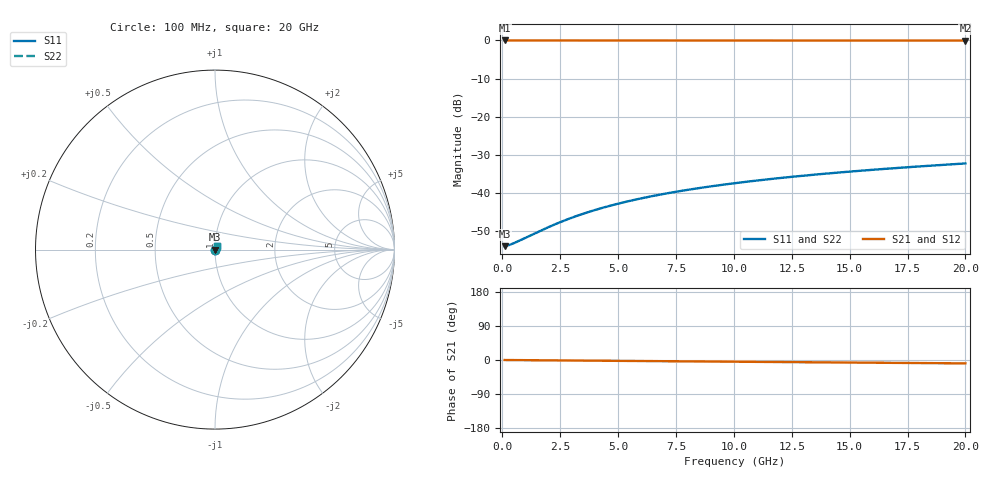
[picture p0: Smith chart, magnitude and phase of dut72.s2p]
! Touchstone file exported from HFSS 2026.1.0
!  File:  C:/ffzhzh/LocalFiles/Ansys_Project_Files/temp_train_TSV_72_1782959250_15332.aedt
!  Generated:  10:30:14 AM Jul  2, 2026
!  Design:  TSV
!  Project:  temp_train_TSV_72_1782959250_15332
! Variables:
!  h_bsmrdl = 2um
!  h_ox = 20um
!  h_rdl = 5um
!  h_sub = 97.65um
!  h_tmrdl = 5um
!  h_tsv = 97.65um
!  h_via = 3um
!  l_bsmrdl = 300um
!  l_sub = 404.74um
!  l_tmrdl = 200um
!  m_sub = 200um
!  pitch = 12.01um
!  r_tsv = 2.37um
!  s_tmrdl = 10um
!  w_bsmrdl = 18um
!  w_sub = 500um
!  w_tmrdl = 12um
!  x_tsv_center1 = 206um
!  x_tsv_center2 = 524um
!  x_tsv_center3 = 736um
!  x_tsv_center4 = 1054um
!  x_tsv_center5 = 1266um
!  x_tsv_center6 = 1584um
# GHz S MA R 50.000000
! Terminal data exported
! Port[1] = TSV1_1_T1
! Port[2] = TSV1_1_T2
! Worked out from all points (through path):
!   200 points, 100 MHz to 20 GHz, reference 50 ohm
!   highest |S21| = -0.02 dB at 100 MHz (marker M1); lowest = 0.0 dB at 20 GHz (marker M2)
!   group delay of S21, straight-line fit = 1.24 ps
!   lowest |S11| = -54.0 dB at 100 MHz (marker M3), VSWR 1.00, Z = 50.2 + j0.016 ohm
!   |S11| at or under -10 dB: start of sweep to end of sweep
!   |S22| runs from -54.0 to -32.3 dB; largest |S21 - S12| = 3.2e-15
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0.1  0.001997 4.6  0.998 -0.0  0.998 -0.0  0.001997 4.6
! Gamma 0 0 0 0
! Port Impedance 50 0 50 0
0.2  0.002026 9.0  0.998 -0.1  0.998 -0.1  0.002026 9.0
0.3  0.00207 13.1  0.998 -0.1  0.998 -0.1  0.00207 13.1
0.5  0.002188 20.3  0.998 -0.2  0.998 -0.2  0.002188 20.3
1.8  0.003339 48.0  0.9978 -0.8  0.9978 -0.8  0.003339 48.0
2.4  0.004005 54.7  0.9977 -1.1  0.9977 -1.1  0.004005 54.7
2.9  0.004595 58.6  0.9977 -1.3  0.9977 -1.3  0.004595 58.6
3.5  0.005327 62.0  0.9976 -1.6  0.9976 -1.6  0.005327 62.0
4.2  0.0062 64.7  0.9975 -1.9  0.9975 -1.9  0.0062 64.7
5  0.007207 66.8  0.9974 -2.3  0.9974 -2.3  0.007207 66.8
5.9  0.008339 68.3  0.9972 -2.7  0.9972 -2.7  0.008339 68.3
6.8  0.009463 69.2  0.9971 -3.1  0.9971 -3.1  0.009463 69.2
7.6  0.01045 69.7  0.9969 -3.4  0.9969 -3.4  0.01045 69.7
8.4  0.01143 70.0  0.9967 -3.8  0.9967 -3.8  0.01143 70.0
9.2  0.01239 70.2  0.9966 -4.2  0.9966 -4.2  0.01239 70.2
10.1  0.01346 70.2  0.9964 -4.6  0.9964 -4.6  0.01346 70.2
11.7  0.01531 70.2  0.996 -5.3  0.996 -5.3  0.01531 70.2
13.4  0.01723 69.9  0.9957 -6.0  0.9957 -6.0  0.01723 69.9
15  0.01899 69.6  0.9953 -6.7  0.9953 -6.7  0.01899 69.6
16.7  0.02083 69.2  0.995 -7.5  0.995 -7.5  0.02083 69.2
18.3  0.02252 68.9  0.9947 -8.2  0.9947 -8.2  0.02252 68.9
20  0.02429 68.4  0.9944 -8.9  0.9944 -8.9  0.02429 68.4
